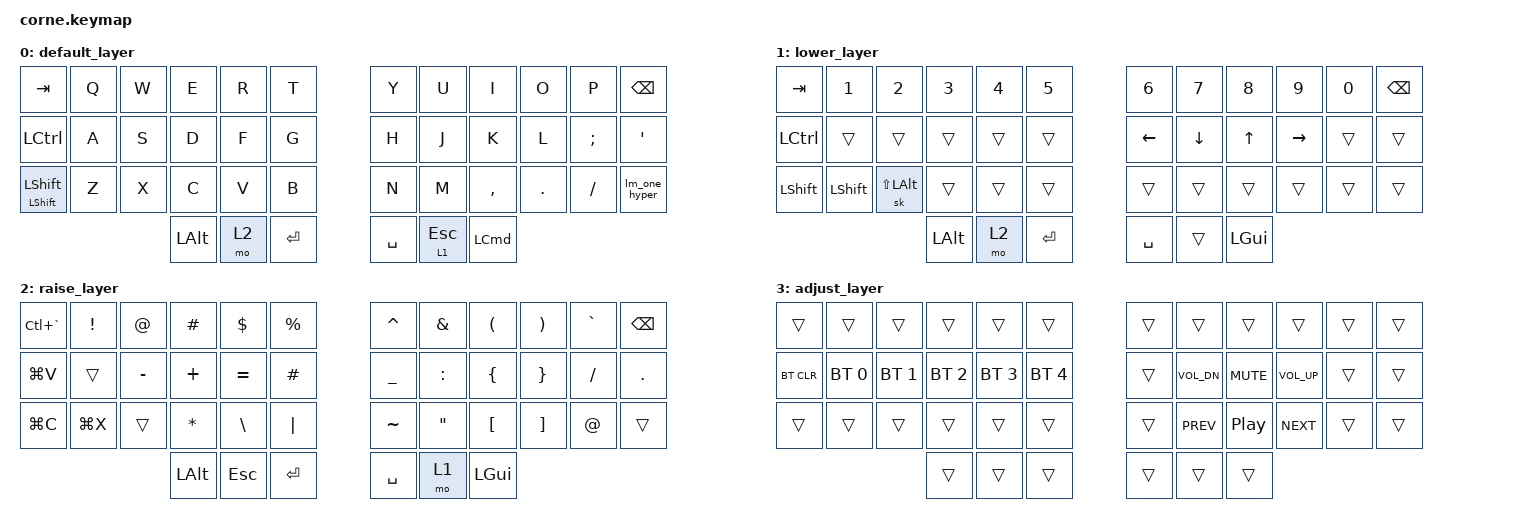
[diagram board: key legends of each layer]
/*
 * Copyright (c) 2020 The ZMK Contributors
 *
 * SPDX-License-Identifier: MIT
 */

#include <behaviors.dtsi>
#include <dt-bindings/zmk/bt.h>
#include <dt-bindings/zmk/keys.h>

/ {
    macros {
        lm_one_hyper: lm_one_hyper {
            compatible = "zmk,behavior-macro";
            #binding-cells = <0>;
            bindings =
                <&macro_press>,
                <&mo 1>,
                <&macro_press>,
                <&kp>,
                <&macro_pause_for_release>,
                <&macro_release>,
                <&kp>,
                <&macro_release>,
                <&mo 1>;

            label = "LM_ONE_HYPER";
        };
    };

    behaviors {
        skq: sticky_key_quick_release {
            compatible = "zmk,behavior-sticky-key";
            bindings = <&kp>;
            #binding-cells = <1>;
            release-after-ms = <1000>;
            quick-release;
            ignore-modifiers;
        };

        lht: leftshift_hold_tap {
            compatible = "zmk,behavior-hold-tap";
            bindings = <&kp>, <&skq>;

            #binding-cells = <2>;
            tapping-term-ms = <200>;
            flavor = "tap-preferred";
        };
    };

    keymap {
        compatible = "zmk,keymap";

        default_layer {
            // -----------------------------------------------------------------------------------------
            // |  TAB |  Q  |  W  |  E  |  R  |  T  |   |  Y  |  U   |  I  |  O  |  P  | BKSP |
            // | CTRL |  A  |  S  |  D  |  F  |  G  |   |  H  |  J   |  K  |  L  |  ;  |  '   |
            // | SHFT |  Z  |  X  |  C  |  V  |  B  |   |  N  |  M   |  ,  |  .  |  /  | ESC  |
            //                    | GUI | LWR | SPC |   | ENT | RSE  | ALT |

            bindings = <
&kp TAB           &kp Q  &kp W  &kp E         &kp R  &kp T        &kp Y      &kp U         &kp I      &kp O    &kp P     &kp BSPC
&kp LCTRL         &kp A  &kp S  &kp D         &kp F  &kp G        &kp H      &kp J         &kp K      &kp L    &kp SEMI  &kp SQT
&lht LSHFT LSHFT  &kp Z  &kp X  &kp C         &kp V  &kp B        &kp N      &kp M         &kp COMMA  &kp DOT  &kp FSLH  &lm_one_hyper
                                &kp LEFT_ALT  &mo 2  &kp ENTER    &kp SPACE  &lt 1 ESCAPE  &kp LCMD
            >;
        };

        lower_layer {
            // -----------------------------------------------------------------------------------------
            // |  TAB |  1  |  2  |  3  |  4  |  5  |   |  6  |  7  |  8  |  9  |  0  | BKSP |
            // | BTCLR| BT1 | BT2 | BT3 | BT4 | BT5 |   | LFT | DWN |  UP | RGT |     |      |
            // | SHFT |     |     |     |     |     |   |     |     |     |     |     |      |
            //                    | GUI |     | SPC |   | ENT |     | ALT |

            bindings = <
&kp TAB    &kp N1          &kp N2            &kp N3        &kp N4  &kp N5       &kp N6     &kp N7    &kp N8        &kp N9     &kp N0  &kp BSPC
&kp LCTRL  &trans          &trans            &trans        &trans  &trans       &kp LEFT   &kp DOWN  &kp UP        &kp RIGHT  &trans  &trans
&kp LSHFT  &kp LEFT_SHIFT  &sk LS(LEFT_ALT)  &trans        &trans  &trans       &trans     &trans    &trans        &trans     &trans  &trans
                                             &kp LEFT_ALT  &mo 2   &kp ENTER    &kp SPACE  &trans    &kp LEFT_GUI
            >;
        };

        raise_layer {
            // -----------------------------------------------------------------------------------------
            // |  TAB |  !  |  @  |  #  |  $  |  %  |   |  ^  |  &  |  *  |  (  |  )  | BKSP |
            // | CTRL |     |     |     |     |     |   |  -  |  =  |  [  |  ]  |  \  |  `   |
            // | SHFT |     |     |     |     |     |   |  _  |  +  |  {  |  }  | "|" |  ~   |
            //                    | GUI |     | SPC |   | ENT |     | ALT |

            bindings = <
&kp LC(GRAVE)  &kp EXCL   &kp AT     &kp HASH      &kp DLLR       &kp PRCNT    &kp CARET  &kp AMPS           &kp LEFT_PARENTHESIS  &kp RIGHT_PARENTHESIS  &kp GRAVE  &kp BSPC
&kp LG(V)      &trans     &kp MINUS  &kp PLUS      &kp EQUAL      &kp HASH     &kp UNDER  &kp COLON          &kp LEFT_BRACE        &kp RIGHT_BRACE        &kp SLASH  &kp DOT
&kp LG(C)      &kp LG(X)  &trans     &kp ASTERISK  &kp BACKSLASH  &kp PIPE     &kp TILDE  &kp DOUBLE_QUOTES  &kp LEFT_BRACKET      &kp RIGHT_BRACKET      &kp AT     &trans
                                     &kp LEFT_ALT  &kp ESCAPE     &kp ENTER    &kp SPACE  &mo 1              &kp LEFT_GUI
            >;
        };

        adjust_layer {
            bindings = <
&trans      &trans        &trans        &trans        &trans        &trans          &trans  &trans        &trans      &trans        &trans  &trans
&bt BT_CLR  &bt BT_SEL 0  &bt BT_SEL 1  &bt BT_SEL 2  &bt BT_SEL 3  &bt BT_SEL 4    &trans  &kp C_VOL_DN  &kp C_MUTE  &kp C_VOL_UP  &trans  &trans
&trans      &trans        &trans        &trans        &trans        &trans          &trans  &kp C_PREV    &kp C_PP    &kp C_NEXT    &trans  &trans
                                        &trans        &trans        &trans          &trans  &trans        &trans
            >;
        };
    };

    conditional_layers {
        compatible = "zmk,conditional-layers";

        tri_layer {
            if-layers = <1 2>;
            then-layer = <3>;
        };
    };
};
